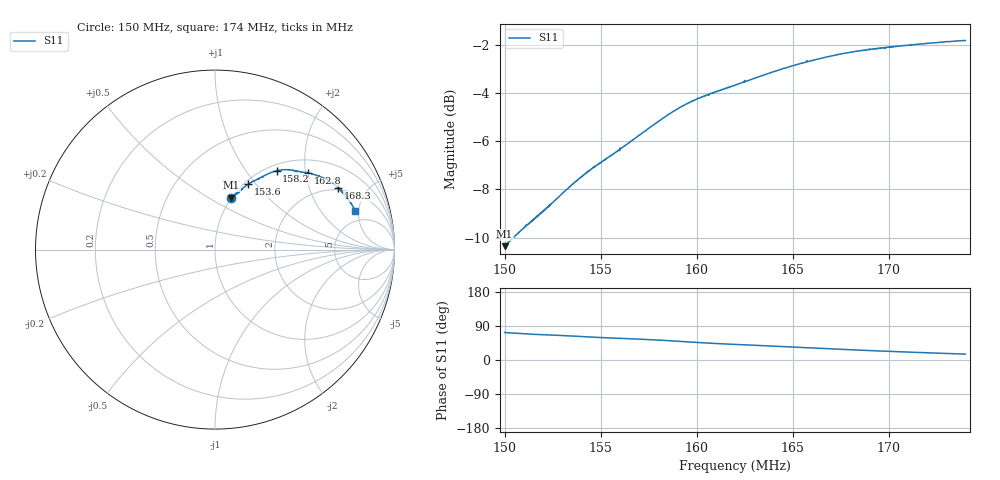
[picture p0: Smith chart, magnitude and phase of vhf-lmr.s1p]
! Calibrated averaged scanner-service zoom
# Hz S RI R 50
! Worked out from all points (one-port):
!   2001 points, 150 MHz to 174 MHz, reference 50 ohm
!   lowest |S11| = -10.4 dB at 150 MHz (marker M1), VSWR 1.87, Z = 49.8 + j31.8 ohm
!   |S11| at or under -10 dB: start of sweep to 150.4593 MHz
!   S11 on the Smith chart (normalised r, x): 150 MHz: 1.00, +0.64; 153.6 MHz: 1.05, +0.92; 158.2 MHz: 1.10, +1.41; 162.8 MHz: 1.33, +2.07; 168.3 MHz: 1.89, +3.19; 174 MHz: 3.61, +4.56
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1.5e8  0.0902 0.2897
1.51092e8  0.1198 0.312
1.51812e8  0.1375 0.3255
1.52556e8  0.1555 0.3418
1.53e8  0.1676 0.3521
1.53588e8  0.1859 0.3647
1.54488e8  0.215 0.3815
1.56e8  0.2609 0.4025
1.56528e8  0.2784 0.4143
1.57224e8  0.3033 0.4258
1.58208e8  0.3437 0.4393
1.59e8  0.3786 0.4449
1.59708e8  0.4101 0.4449
1.60464e8  0.4407 0.4409
1.61004e8  0.4601 0.4371
1.62e8  0.4935 0.4307
1.6284e8  0.5209 0.4253
1.63908e8  0.5573 0.4167
1.65e8  0.5939 0.4037
1.65852e8  0.6212 0.3907
1.66668e8  0.645 0.3765
1.68e8  0.6812 0.3497
1.68276e8  0.6879 0.344
1.69368e8  0.7106 0.3171
1.71e8  0.7396 0.2831
1.72212e8  0.7583 0.2569
1.73556e8  0.776 0.2272
1.74e8  0.7807 0.2168
